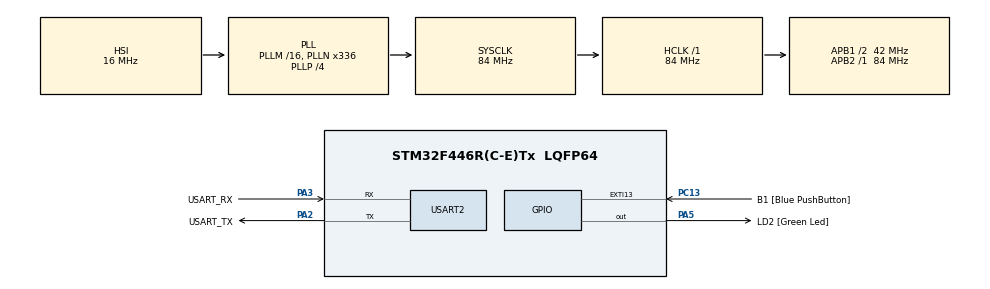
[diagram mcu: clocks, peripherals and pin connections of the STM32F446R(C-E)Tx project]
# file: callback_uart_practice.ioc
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Mcu.Family=STM32F4
Mcu.Name=STM32F446R(C-E)Tx
Mcu.Package=LQFP64
NVIC.PriorityGroup=NVIC_PRIORITYGROUP_0
NVIC.USART2_IRQn=true\:0\:0\:false\:false\:true\:true\:true\:true
PA13.GPIO_Label=TMS
PA13.Mode=Serial_Wire
PA13.Signal=SYS_JTMS-SWDIO
PA14.GPIO_Label=TCK
PA14.Mode=Serial_Wire
PA14.Signal=SYS_JTCK-SWCLK
PA2.GPIO_Label=USART_TX
PA2.Mode=Asynchronous
PA2.Signal=USART2_TX
PA3.GPIO_Label=USART_RX
PA3.Mode=Asynchronous
PA3.Signal=USART2_RX
PA5.GPIO_Label=LD2 [Green Led]
PA5.Signal=GPIO_Output
PB3.GPIO_Label=SWO
PB3.Signal=SYS_JTDO-SWO
PC13.GPIO_Label=B1 [Blue PushButton]
PC13.GPIO_ModeDefaultEXTI=GPIO_MODE_IT_FALLING
PC13.Signal=GPXTI13
PC14-OSC32_IN.Mode=LSE-External-Oscillator
PC14-OSC32_IN.Signal=RCC_OSC32_IN
PC15-OSC32_OUT.Mode=LSE-External-Oscillator
PC15-OSC32_OUT.Signal=RCC_OSC32_OUT
PH0-OSC_IN.Mode=HSE-External-Oscillator
PH0-OSC_IN.Signal=RCC_OSC_IN
PH1-OSC_OUT.Mode=HSE-External-Oscillator
PH1-OSC_OUT.Signal=RCC_OSC_OUT
ProjectManager.HeapSize=0x200
ProjectManager.StackSize=0x400
ProjectManager.TargetToolchain=STM32CubeIDE
RCC.48MHZClocksFreq_Value=84000000
RCC.AHBFreq_Value=84000000
RCC.APB1CLKDivider=RCC_HCLK_DIV2
RCC.APB1Freq_Value=42000000
RCC.APB1TimFreq_Value=84000000
RCC.APB2Freq_Value=84000000
RCC.APB2TimFreq_Value=84000000
RCC.CortexFreq_Value=84000000
RCC.FLatency-AdvancedSettings=FLASH_LATENCY_2
RCC.HCLKFreq_Value=84000000
RCC.HSE_VALUE=8000000
RCC.HSI_VALUE=16000000
RCC.PLLN=336
RCC.PLLP=RCC_PLLP_DIV4
RCC.SYSCLKFreq_VALUE=84000000
RCC.SYSCLKSource=RCC_SYSCLKSOURCE_PLLCLK
RCC.USBFreq_Value=168000000
RCC.VCOOutputFreq_Value=336000000
USART2.VirtualMode=VM_ASYNC
board=NUCLEO-F446RE

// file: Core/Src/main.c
/* USER CODE BEGIN Header */
/**
  ******************************************************************************
  * @file           : main.c
  * @brief          : Main program body
  ******************************************************************************
  * @attention
  *
  * Copyright (c) 2023 STMicroelectronics.
  * All rights reserved.
  *
  * This software is licensed under terms that can be found in the LICENSE file
  * in the root directory of this software component.
  * If no LICENSE file comes with this software, it is provided AS-IS.
  *
  ******************************************************************************
  */
/* USER CODE END Header */
#include "main.h"

/* USER CODE BEGIN Includes */
#include "string.h"
/* USER CODE END Includes */

UART_HandleTypeDef huart2;

void SystemClock_Config(void);
static void MX_GPIO_Init(void);
static void MX_USART2_UART_Init(void);
/* USER CODE BEGIN PFP */
void printWelcomeMessage(void);
/* USER CODE END PFP */

/* USER CODE BEGIN 0 */
uint8_t comando[3]={0x01, 0x02, 0x03};
uint8_t buff[9]="";//recibira opcion A o Opcion b
const uint8_t MAIN_MENU[] =
    "Opciones del Menú:\r\n"
    "OPCION A. Encender LED.\r\n"
    "OPCION B. Apagar Led.\r\n";
const uint8_t WELCOME_MSG[]= "Tarea 1: Uso de GPIO y UART con Interrupciones \r\n";
/* USER CODE END 0 */

int main(void)
{

  /* MCU Configuration--------------------------------------------------------*/

  /* Reset of all peripherals, Initializes the Flash interface and the Systick. */
  HAL_Init();

  /* Configure the system clock */
  SystemClock_Config();

  /* Initialize all configured peripherals */
  MX_GPIO_Init();
  MX_USART2_UART_Init();
  /* USER CODE BEGIN 2 */
  printWelcomeMessage();
  HAL_UART_Receive_IT(&huart2, buff, 8);

  /* USER CODE END 2 */

  /* Infinite loop */
  while (1)
  {

  }
}

void SystemClock_Config(void)
{
  RCC_OscInitTypeDef RCC_OscInitStruct = {0};
  RCC_ClkInitTypeDef RCC_ClkInitStruct = {0};

  /** Configure the main internal regulator output voltage
  */
  __HAL_RCC_PWR_CLK_ENABLE();
  __HAL_PWR_VOLTAGESCALING_CONFIG(PWR_REGULATOR_VOLTAGE_SCALE3);

  /** Initializes the RCC Oscillators according to the specified parameters
  * in the RCC_OscInitTypeDef structure.
  */
  RCC_OscInitStruct.OscillatorType = RCC_OSCILLATORTYPE_HSI;
  RCC_OscInitStruct.HSIState = RCC_HSI_ON;
  RCC_OscInitStruct.HSICalibrationValue = RCC_HSICALIBRATION_DEFAULT;
  RCC_OscInitStruct.PLL.PLLState = RCC_PLL_ON;
  RCC_OscInitStruct.PLL.PLLSource = RCC_PLLSOURCE_HSI;
  RCC_OscInitStruct.PLL.PLLM = 16;
  RCC_OscInitStruct.PLL.PLLN = 336;
  RCC_OscInitStruct.PLL.PLLP = RCC_PLLP_DIV4;
  RCC_OscInitStruct.PLL.PLLQ = 2;
  RCC_OscInitStruct.PLL.PLLR = 2;
  if (HAL_RCC_OscConfig(&RCC_OscInitStruct) != HAL_OK)
  {
    Error_Handler();
  }

  /** Initializes the CPU, AHB and APB buses clocks
  */
  RCC_ClkInitStruct.ClockType = RCC_CLOCKTYPE_HCLK|RCC_CLOCKTYPE_SYSCLK
                              |RCC_CLOCKTYPE_PCLK1|RCC_CLOCKTYPE_PCLK2;
  RCC_ClkInitStruct.SYSCLKSource = RCC_SYSCLKSOURCE_PLLCLK;
  RCC_ClkInitStruct.AHBCLKDivider = RCC_SYSCLK_DIV1;
  RCC_ClkInitStruct.APB1CLKDivider = RCC_HCLK_DIV2;
  RCC_ClkInitStruct.APB2CLKDivider = RCC_HCLK_DIV1;

  if (HAL_RCC_ClockConfig(&RCC_ClkInitStruct, FLASH_LATENCY_2) != HAL_OK)
  {
    Error_Handler();
  }
}

static void MX_USART2_UART_Init(void)
{

  huart2.Instance = USART2;
  huart2.Init.BaudRate = 115200;
  huart2.Init.WordLength = UART_WORDLENGTH_8B;
  huart2.Init.StopBits = UART_STOPBITS_1;
  huart2.Init.Parity = UART_PARITY_NONE;
  huart2.Init.Mode = UART_MODE_TX_RX;
  huart2.Init.HwFlowCtl = UART_HWCONTROL_NONE;
  huart2.Init.OverSampling = UART_OVERSAMPLING_16;
  if (HAL_UART_Init(&huart2) != HAL_OK)
  {
    Error_Handler();
  }

}

static void MX_GPIO_Init(void)
{
  GPIO_InitTypeDef GPIO_InitStruct = {0};

  /* GPIO Ports Clock Enable */
  __HAL_RCC_GPIOC_CLK_ENABLE();
  __HAL_RCC_GPIOH_CLK_ENABLE();
  __HAL_RCC_GPIOA_CLK_ENABLE();
  __HAL_RCC_GPIOB_CLK_ENABLE();

  /*Configure GPIO pin Output Level */
  HAL_GPIO_WritePin(LD2_GPIO_Port, LD2_Pin, GPIO_PIN_RESET);

  /*Configure GPIO pin : B1_Pin */
  GPIO_InitStruct.Pin = B1_Pin;
  GPIO_InitStruct.Mode = GPIO_MODE_IT_FALLING;
  GPIO_InitStruct.Pull = GPIO_NOPULL;
  HAL_GPIO_Init(B1_GPIO_Port, &GPIO_InitStruct);

  /*Configure GPIO pin : LD2_Pin */
  GPIO_InitStruct.Pin = LD2_Pin;
  GPIO_InitStruct.Mode = GPIO_MODE_OUTPUT_PP;
  GPIO_InitStruct.Pull = GPIO_NOPULL;
  GPIO_InitStruct.Speed = GPIO_SPEED_FREQ_LOW;
  HAL_GPIO_Init(LD2_GPIO_Port, &GPIO_InitStruct);

}

/* USER CODE BEGIN 4 */
void printWelcomeMessage(void){
	HAL_UART_Transmit(&huart2, (uint8_t*)"\033[0;0H", strlen("\033[0;0H"), HAL_MAX_DELAY);
	HAL_UART_Transmit(&huart2, (uint8_t*)"\033[2J", strlen("\033[2J"), HAL_MAX_DELAY);
	HAL_UART_Transmit(&huart2, (uint8_t*)WELCOME_MSG, strlen((const char*)WELCOME_MSG), HAL_MAX_DELAY);
	HAL_UART_Transmit(&huart2, (uint8_t*)MAIN_MENU, strlen((const char*)MAIN_MENU), HAL_MAX_DELAY);
}

void HAL_UART_RxCpltCallback(UART_HandleTypeDef *huart)
{
	HAL_UART_Transmit(&huart2,buff,8,1);
	HAL_UART_Transmit(&huart2,(uint8_t *)"\r\n",2,1);
	buff[8]='\0';

	if(!strcmp((char *)buff,"OPCION A"))
	{
		HAL_GPIO_WritePin(GPIOA, GPIO_PIN_5, GPIO_PIN_SET);
		HAL_UART_Transmit(&huart2,(uint8_t *)"LED ENCENDIDO\r\n",sizeof("LED ENCENDIDO\r\n"),1);
	}
	else if(!strcmp((char *)buff,"OPCION B"))
	{
		HAL_GPIO_WritePin(GPIOA, GPIO_PIN_5, GPIO_PIN_RESET);
		HAL_UART_Transmit(&huart2,(uint8_t *)"LED APAGADO\r\n",sizeof("LED APAGADO\r\n"),1);
	}

	HAL_UART_Receive_IT(&huart2, buff, 8);

}
/* USER CODE END 4 */

void Error_Handler(void)
{
  __disable_irq();
  while (1)
  {
  }
}
